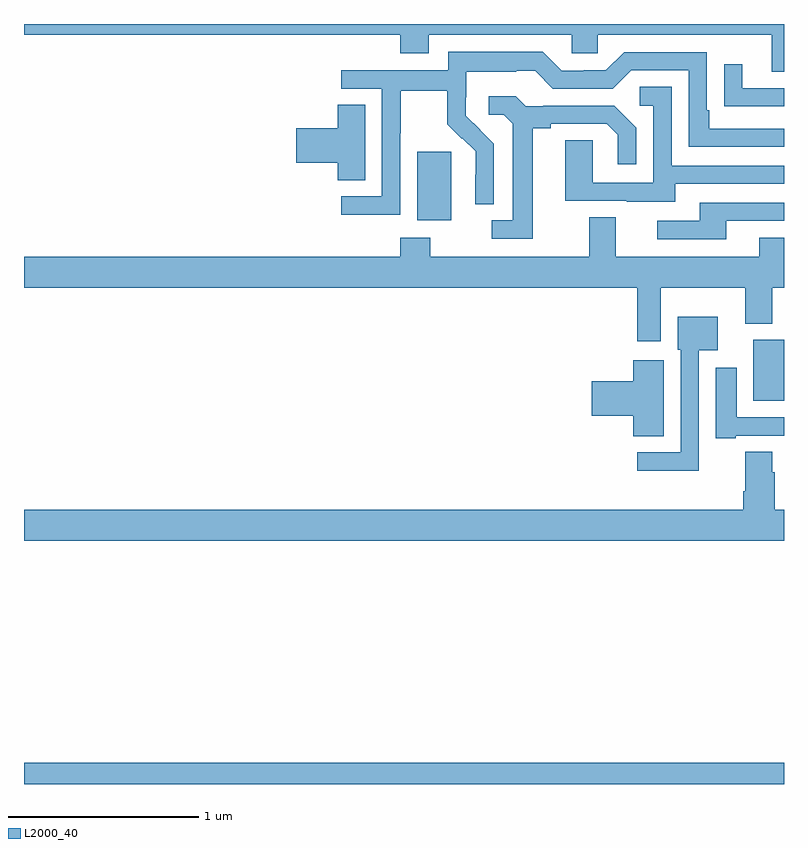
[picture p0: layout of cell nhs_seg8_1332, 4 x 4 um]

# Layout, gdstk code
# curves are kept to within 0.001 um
import gdstk
lib = gdstk.Library(unit=1e-6, precision=1e-09)
def R(c, l, rs):  # rectangles x0, y0, x1, y1
    for r in rs: c.add(gdstk.rectangle(r[:2], r[2:], *l))
def P(c, l, *ps):  # polygons
    for p in ps: c.add(gdstk.Polygon(p, *l))
L2000_40 = (2000, 40)

nhs_seg8_1332 = lib.new_cell('nhs_seg8_1332')
R(nhs_seg8_1332, L2000_40, [(195,1101.9,199,1102.012), (198.839,1103.918,199,1104.238), (197.069,1104.866,197.248,1105.227)])
P(nhs_seg8_1332, L2000_40, [(199,1105.9),(195,1105.9),(195,1105.844),(196.979,1105.844),(196.979,1105.745),(197.131,1105.745),(197.131,1105.844),(197.883,1105.844),(197.883,1105.746),(198.021,1105.746),(198.021,1105.844),(198.935,1105.844),(198.935,1105.65),(199,1105.65)],
  [(196.98,1105.324),(196.983,1105.324),(196.983,1105.548),(197.227,1105.548),(197.227,1105.373),(197.304,1105.296),(197.307,1105.299),(197.378,1105.229),(197.378,1105.106),(197.376,1105.106),(197.376,1104.952),(197.472,1104.952),(197.472,1105.27),(197.326,1105.418),(197.326,1105.515),(197.328,1105.515),(197.328,1105.649),(197.591,1105.649),(197.591,1105.653),(197.691,1105.653),(197.784,1105.56),(198.099,1105.56),(198.195,1105.656),(198.498,1105.656),(198.498,1105.254),(199,1105.254),(199,1105.35),(198.607,1105.35),(198.607,1105.447),(198.594,1105.447),(198.594,1105.752),(198.159,1105.752),(198.063,1105.656),(197.945,1105.656),(197.945,1105.653),(197.829,1105.653),(197.729,1105.753),(197.232,1105.753),(197.232,1105.656),(196.671,1105.656),(196.671,1105.56),(196.884,1105.56),(196.884,1104.993),(196.671,1104.993),(196.671,1104.895),(196.98,1104.895)],
  [(199,1105.563),(198.781,1105.563),(198.781,1105.687),(198.685,1105.687),(198.685,1105.468),(198.787,1105.468),(198.787,1105.467),(199,1105.467)],
  [(198.427,1105.059),(199,1105.059),(199,1105.155),(198.408,1105.155),(198.408,1105.571),(198.24,1105.571),(198.24,1105.47),(198.312,1105.47),(198.312,1105.065),(197.994,1105.065),(197.994,1105.289),(197.849,1105.289),(197.849,1104.969),(198.173,1104.969),(198.173,1104.965),(198.427,1104.965)],
  [(197.677,1105.352),(197.773,1105.352),(197.773,1105.374),(198.068,1105.374),(198.125,1105.317),(198.125,1105.161),(198.222,1105.161),(198.222,1105.354),(198.106,1105.47),(197.734,1105.47),(197.734,1105.467),(197.64,1105.467),(197.588,1105.519),(197.445,1105.519),(197.445,1105.422),(197.526,1105.422),(197.573,1105.375),(197.573,1104.867),(197.463,1104.867),(197.463,1104.771),(197.677,1104.771)],
  [(196.795,1105.475),(196.652,1105.475),(196.652,1105.352),(196.434,1105.352),(196.434,1105.169),(196.652,1105.169),(196.652,1105.078),(196.795,1105.078)],
  [(198.697,1104.864),(199,1104.864),(199,1104.96),(198.557,1104.96),(198.557,1104.864),(198.333,1104.864),(198.333,1104.768),(198.697,1104.768)],
  [(198.352,1104.512),(198.797,1104.512),(198.797,1104.323),(198.937,1104.323),(198.937,1104.512),(199,1104.512),(199,1104.775),(198.869,1104.775),(198.869,1104.676),(198.115,1104.676),(198.115,1104.884),(197.975,1104.884),(197.975,1104.676),(197.139,1104.676),(197.139,1104.775),(196.979,1104.775),(196.979,1104.676),(195,1104.676),(195,1104.512),(198.227,1104.512),(198.227,1104.231),(198.352,1104.231)],
  [(198.552,1104.182),(198.652,1104.182),(198.652,1104.358),(198.44,1104.358),(198.44,1104.186),(198.456,1104.186),(198.456,1103.646),(198.228,1103.646),(198.228,1103.549),(198.552,1103.549)],
  [(198.367,1104.13),(198.206,1104.13),(198.206,1104.02),(197.988,1104.02),(197.988,1103.837),(198.206,1103.837),(198.206,1103.731),(198.367,1103.731)],
  [(198.745,1103.733),(199,1103.733),(199,1103.829),(198.751,1103.829),(198.751,1104.091),(198.641,1104.091),(198.641,1103.721),(198.745,1103.721)],
  [(199,1103.344),(198.95,1103.344),(198.95,1103.54),(198.937,1103.54),(198.937,1103.648),(198.797,1103.648),(198.797,1103.44),(198.785,1103.44),(198.785,1103.344),(195,1103.344),(195,1103.18),(199,1103.18)])

lib.write_gds('nhs_seg8_1332.gds')
